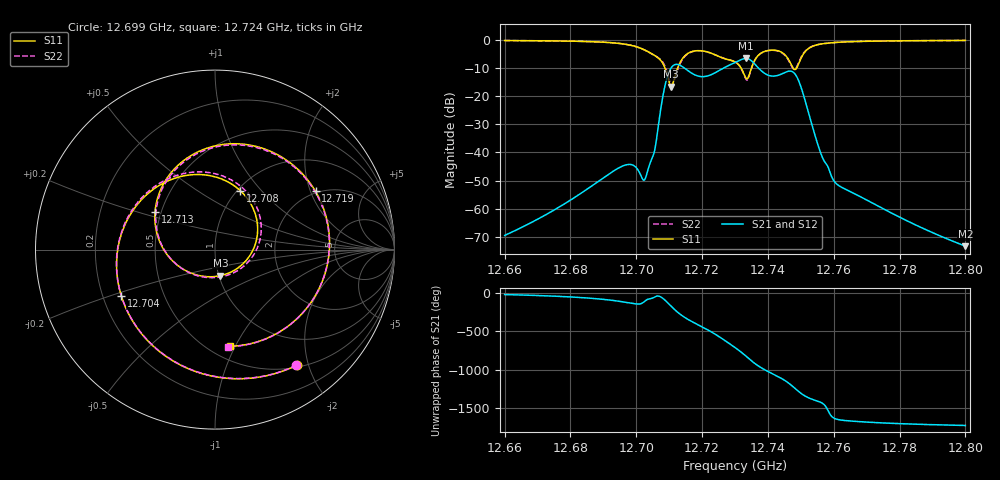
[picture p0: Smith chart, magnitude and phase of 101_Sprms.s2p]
! TOUCHSTONE file generated by CST MICROWAVE STUDIO
! Date and time: Wed Jul 31 15:50:56 2024
! Project name: WaveGuide_BPF-Ver4.1_U-shape_Ku_T3_C4_CWA_2.cst
! Parameters = {cavity_h=16; cavity_l0=10; cavity_l1=15.2208; cavity_l2=16.8587; cavity_l3=17.1085; cavity_l4=17.2711; cavity_l5=17.1582; cavity_l6=17.5584; cavity_r=2.5; cavity_screw_l=0.5; cavity_screw_r=1.5; cavity_w=8; iris_h00=0; iris_h01=8.8007; iris_h112=0; iris_h12=5.6066; iris_h211=3.6554; 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
! Header version: 2018
! Port assignment regex: !\s*Touchstone port\s*([0-9]+)\s*=\s*(CST MWS port|CST DS port)\s*([0-9]+|Zmin|Zmax)\s*\(\"(.*)\"\)(\s*mode\s*([0-9]+))?.*
! Touchstone port assignment:
! Touchstone port 1 = CST MWS port 1 ("")
! Touchstone port 2 = CST MWS port 2 ("")
# GHz S RI R 50
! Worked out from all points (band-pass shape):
!   5001 points, 12.66 GHz to 12.8 GHz, reference 50 ohm
!   highest |S21| = -6.54 dB at 12.733 GHz (marker M1); lowest = -73.3 dB at 12.8 GHz (marker M2)
!   |S21| within 3 dB of the highest: 12.71083 GHz to 12.71412 GHz (3.29 MHz wide, 0.0259 % of centre); 12.72723 GHz to 12.73679 GHz (9.559 MHz wide, 0.0751 % of centre)
!   lowest |S11| = -16.6 dB at 12.711 GHz (marker M3), VSWR 1.35, Z = 50.8 - j15.1 ohm
!   |S11| at or under -10 dB: 12.70874 GHz to 12.71256 GHz (3.816 MHz wide, 0.03 % of centre); 12.73186 GHz to 12.73499 GHz (3.125 MHz wide, 0.0245 % of centre); 12.74769 GHz to 12.74871 GHz (1.02 MHz wide, 0.008 % of centre)
!   |S22| runs from -16.2 to -0.2 dB; largest |S21 - S12| = 1.4e-09
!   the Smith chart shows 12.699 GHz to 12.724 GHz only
!   S11 on the Smith chart (normalised r, x): 12.699 GHz: 0.53, -1.82; 12.704 GHz: 0.28, -0.22; 12.708 GHz: 1.03, +0.78; 12.713 GHz: 0.46, +0.23; 12.719 GHz: 1.94, +2.17; 12.724 GHz: 0.62, -0.96
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12.66  0.3552 0.9122  0.000301 -0.000145  0.000301 -0.000145  0.3595 0.9105
12.68335  0.8088 0.4908  0.000799 -0.00173  0.000799 -0.00173  0.8106 0.4881
12.699  0.4588 -0.6427  -0.00471 -0.00364  -0.00471 -0.00364  0.4526 -0.6452
12.70444  -0.5222 -0.2575  0.0014 -0.00685  0.0014 -0.00685  -0.5276 -0.2379
12.70668  -0.3392 0.3391  0.0205 -0.0203  0.0205 -0.0203  -0.3288 0.3566
12.70836  0.1402 0.3289  0.0113 -0.1212  0.0113 -0.1212  0.1508 0.3465
12.7106  0.0299 -0.1453  -0.3196 -0.0104  -0.3196 -0.0104  0.0753 -0.1408
12.71328  -0.3343 0.2101  0.0608 0.3507  0.0608 0.3507  -0.3305 0.1784
12.71877  0.5601 0.3245  0.1222 -0.1934  0.1222 -0.1934  0.5609 0.3171
12.72395  0.086 -0.5385  -0.2613 -0.00205  -0.2613 -0.00205  0.0726 -0.5402
12.727  -0.4515 -0.1015  -0.0301 0.3266  -0.0301 0.3266  -0.4552 -0.0919
12.73  -0.1154 0.392  0.3961 0.0458  0.3961 0.0458  -0.1103 0.3939
12.7333  0.1336 0.1632  -0.1107 -0.4575  -0.1107 -0.4575  0.1294 0.1557
12.73865  0.5989 -0.1437  0.0147 0.2632  0.0147 0.2632  0.5977 -0.1355
12.74266  0.0304 -0.6509  0.2317 -0.00498  0.2317 -0.00498  0.0233 -0.6453
12.74588  -0.4515 -0.1854  0.0369 -0.2728  0.0369 -0.2728  -0.4479 -0.1527
12.74851  0.0528 0.3004  -0.2348 -0.0242  -0.2348 -0.0242  0.0993 0.2978
12.75066  0.5334 -0.1382  -0.044 0.1033  -0.044 0.1033  0.5415 -0.1674
12.75335  0.3044 -0.7004  0.0176 0.026  0.0176 0.026  0.2963 -0.7095
12.76052  -0.4905 -0.7611  -0.00274 0.000927  -0.00274 0.000927  -0.4932 -0.7598
12.77668  -0.9488 -0.1669  -0.000218 0.000863  -0.000218 0.000863  -0.9494 -0.1633
12.8  -0.9336 0.3054  5.64e-05 0.000208  5.64e-05 0.000208  -0.9321 0.3098
